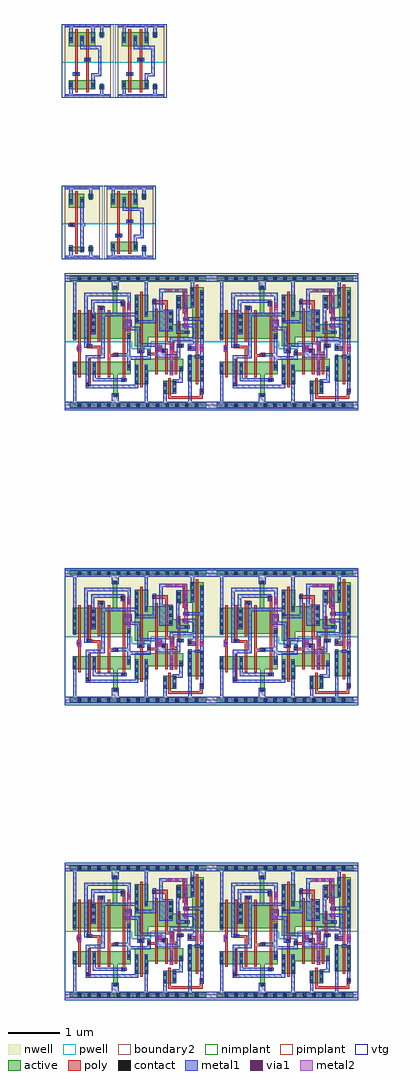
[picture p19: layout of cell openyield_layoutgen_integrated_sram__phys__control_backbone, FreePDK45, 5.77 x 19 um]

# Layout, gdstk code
import gdstk
lib = gdstk.Library(unit=1e-6, precision=5e-10)
def R(c, l, rs):  # rectangles x0, y0, x1, y1
    for r in rs: c.add(gdstk.rectangle(r[:2], r[2:], *l))
def A(c, l, x, y, w, h, nx, ny, dx, dy):  # array of equal rectangles
    R(c, l, [(x+i*dx, y+j*dy, x+i*dx+w, y+j*dy+h) for i in range(nx) for j in range(ny)])
def P(c, l, *ps):  # polygons
    for p in ps: c.add(gdstk.Polygon(p, *l))
active = (1, 0)
pwell = (2, 0)
nwell = (3, 0)
nimplant = (4, 0)
pimplant = (5, 0)
vtg = (6, 0)
poly = (9, 0)
contact = (10, 0)
metal1 = (11, 0)
via1 = (12, 0)
metal2 = (13, 0)
boundary2 = (239, 0)

dff = lib.new_cell('dff')
A(dff, active, 0.2675, 0.6, 0.05, 0.25, 4, 1, 0.19, 0)
A(dff, active, 0.3175, 0.6, 0.14, 0.25, 3, 1, 0.19, 0)
A(dff, active, 1.7675, 0.6575, 0.05, 0.25, 3, 1, 0.19, 0)
A(dff, active, 0.2675, 1.2925, 0.05, 0.5, 4, 1, 0.19, 0)
A(dff, active, 0.3175, 1.2925, 0.14, 0.5, 3, 1, 0.19, 0)
R(dff, active, [(0.1,-0.045,2.76,0.045), (1.9175,0.2225,2.0225,0.4725), (2.0225,0.2225,2.0725,0.4725), (2.0725,0.2225,2.1775,0.4725), (1.3675,0.4075,1.4725,0.9075), (1.4725,0.4075,1.5225,0.9075), (2.4025,0.4625,2.5575,0.9625), (2.5575,0.4625,2.6075,0.9625), (2.6075,0.4625,2.7125,0.9625), (0.1625,0.6,0.2675,0.85), (1.1325,0.6,1.1825,0.85), (1.1825,0.6,1.2875,0.85), (1.8175,0.6575,1.9575,0.9075), (2.0075,0.6575,2.1475,0.9075), (2.1975,0.6575,2.3075,0.9075), (1.3675,1.15,1.4725,2.15), (1.4725,1.15,1.5225,2.15), (0.1625,1.2925,0.2675,1.7925), (1.1325,1.2925,1.1825,1.7925), (1.1825,1.2925,1.2875,1.7925), (2.5575,1.2925,2.6075,2.2925), (2.6075,1.2925,2.7125,2.2925), (1.7675,1.3275,1.8175,1.8275), (1.8175,1.3275,1.9575,1.8275), (1.9575,1.3275,2.0075,1.8275), (2.2075,1.3275,2.2575,1.5775), (2.2575,1.3275,2.4075,1.5775), (2.1925,1.8925,2.2975,2.1425), (2.2975,1.8925,2.3475,2.1425), (0.1,2.425,2.76,2.515)])
P(dff, active, [(0.8875,1.2925),(0.8875,1.7925),(0.9375,1.7925),(0.9375,2.3225),(1.0275,2.3225),(1.0275,1.7925),(1.1325,1.7925),(1.1325,1.2925)],
  [(1.5225,1.15),(1.5225,2.15),(1.6275,2.15),(1.6275,1.8275),(1.7675,1.8275),(1.7675,1.3275),(1.6275,1.3275),(1.6275,1.15)],
  [(2.0075,1.3275),(2.0075,1.8275),(2.1125,1.8275),(2.1125,1.5775),(2.2075,1.5775),(2.2075,1.3275)],
  [(2.4875,1.2925),(2.4875,1.8925),(2.3475,1.8925),(2.3475,2.1425),(2.4525,2.1425),(2.4525,2.2925),(2.5575,2.2925),(2.5575,1.2925)],
  [(0.9475,0.165),(0.9475,0.6),(0.8875,0.6),(0.8875,0.85),(1.1325,0.85),(1.1325,0.6),(1.0375,0.6),(1.0375,0.165)],
  [(1.5225,0.4075),(1.5225,0.9075),(1.7675,0.9075),(1.7675,0.6575),(1.6275,0.6575),(1.6275,0.4075)])
P(dff, pwell, [(0,-0.1),(0,1.235),(1.3125,1.235),(1.3125,1.095),(1.6825,1.095),(1.6825,1.235),(2.86,1.235),(2.86,-0.1)])
P(dff, nwell, [(1.3125,1.095),(1.3125,1.235),(0,1.235),(0,2.57),(2.86,2.57),(2.86,1.235),(1.6825,1.235),(1.6825,1.095)])
A(dff, nimplant, 0.2675, 0.6, 0.05, 0.25, 4, 1, 0.19, 0)
A(dff, nimplant, 0.3175, 0.6, 0.14, 0.25, 3, 1, 0.19, 0)
A(dff, nimplant, 1.7675, 0.6575, 0.05, 0.25, 3, 1, 0.19, 0)
R(dff, nimplant, [(1.9175,0.2225,2.0225,0.4725), (2.0225,0.2225,2.0725,0.4725), (2.0725,0.2225,2.1775,0.4725), (1.3675,0.4075,1.4725,0.9075), (1.4725,0.4075,1.5225,0.9075), (2.4025,0.4625,2.5575,0.9625), (2.5575,0.4625,2.6075,0.9625), (2.6075,0.4625,2.7125,0.9625), (0.1625,0.6,0.2675,0.85), (1.1325,0.6,1.1825,0.85), (1.1825,0.6,1.2875,0.85), (1.8175,0.6575,1.9575,0.9075), (2.0075,0.6575,2.1475,0.9075), (2.1975,0.6575,2.3075,0.9075), (0.1,2.425,2.76,2.515)])
P(dff, nimplant, [(0.9475,0.165),(0.9475,0.6),(0.8875,0.6),(0.8875,0.85),(1.1325,0.85),(1.1325,0.6),(1.0375,0.6),(1.0375,0.165)],
  [(1.5225,0.4075),(1.5225,0.9075),(1.7675,0.9075),(1.7675,0.6575),(1.6275,0.6575),(1.6275,0.4075)])
A(dff, pimplant, 0.2675, 1.2925, 0.05, 0.5, 4, 1, 0.19, 0)
A(dff, pimplant, 0.3175, 1.2925, 0.14, 0.5, 3, 1, 0.19, 0)
R(dff, pimplant, [(0.1,-0.045,2.76,0.045), (1.3675,1.15,1.4725,2.15), (1.4725,1.15,1.5225,2.15), (0.1625,1.2925,0.2675,1.7925), (1.1325,1.2925,1.1825,1.7925), (1.1825,1.2925,1.2875,1.7925), (2.5575,1.2925,2.6075,2.2925), (2.6075,1.2925,2.7125,2.2925), (1.7675,1.3275,1.8175,1.8275), (1.8175,1.3275,1.9575,1.8275), (1.9575,1.3275,2.0075,1.8275), (2.2075,1.3275,2.2575,1.5775), (2.2575,1.3275,2.4075,1.5775), (2.1925,1.8925,2.2975,2.1425), (2.2975,1.8925,2.3475,2.1425)])
P(dff, pimplant, [(0.8875,1.2925),(0.8875,1.7925),(0.9375,1.7925),(0.9375,2.3225),(1.0275,2.3225),(1.0275,1.7925),(1.1325,1.7925),(1.1325,1.2925)],
  [(1.5225,1.15),(1.5225,2.15),(1.6275,2.15),(1.6275,1.8275),(1.7675,1.8275),(1.7675,1.3275),(1.6275,1.3275),(1.6275,1.15)],
  [(2.0075,1.3275),(2.0075,1.8275),(2.1125,1.8275),(2.1125,1.5775),(2.2075,1.5775),(2.2075,1.3275)],
  [(2.4875,1.2925),(2.4875,1.8925),(2.3475,1.8925),(2.3475,2.1425),(2.4525,2.1425),(2.4525,2.2925),(2.5575,2.2925),(2.5575,1.2925)])
R(dff, vtg, [(0,-0.1,2.86,2.57)])
A(dff, poly, 0.2675, 0.6, 0.05, 0.25, 4, 1, 0.19, 0)
A(dff, poly, 1.7675, 0.6025, 0.05, 0.055, 3, 1, 0.19, 0)
A(dff, poly, 1.7675, 0.6575, 0.05, 0.25, 3, 1, 0.19, 0)
A(dff, poly, 0.2675, 1.2925, 0.05, 0.5, 4, 1, 0.19, 0)
R(dff, poly, [(2.0225,0.2225,2.0725,0.4725), (1.4725,0.3525,1.5225,0.4075), (1.4725,0.4075,1.5225,0.9075), (2.5575,0.4075,2.6075,0.4625), (2.5575,0.4625,2.6075,0.9625), (2.0225,0.4725,2.0725,0.5275), (0.2675,0.545,0.3175,0.6), (0.6475,0.545,0.6975,0.6), (0.8375,0.545,0.8875,0.6), (1.1325,0.6,1.1825,0.85), (0.4575,0.85,0.5075,0.905), (1.1325,0.85,1.1825,1.2925), (1.4725,1.15,1.5225,2.15), (0.6475,1.2375,0.6975,1.2925), (1.1325,1.2925,1.1825,1.7925), (2.5575,1.2925,2.6075,2.2925), (1.7675,1.3275,1.8175,1.8275), (1.9575,1.3275,2.0075,1.8275), (2.2075,1.3275,2.2575,1.5775), (2.2075,1.5775,2.2575,1.6325), (0.2675,1.7925,0.3175,1.8475), (0.4575,1.7925,0.5075,1.8475), (0.8375,1.7925,0.8875,1.8475), (1.7675,1.8275,1.8175,1.8825), (2.2975,1.8925,2.3475,2.1425), (2.2975,2.1425,2.3475,2.1975), (1.4725,2.15,1.5225,2.205), (2.5575,2.2925,2.6075,2.3475)])
P(dff, poly, [(0.2675,0.85),(0.2675,1.0675),(0.2425,1.0675),(0.2425,1.1425),(0.2675,1.1425),(0.2675,1.2925),(0.3175,1.2925),(0.3175,0.85)],
  [(0.4125,0.365),(0.4125,0.44),(0.4575,0.44),(0.4575,0.6),(0.5075,0.6),(0.5075,0.365)],
  [(0.6475,1.7925),(0.6475,1.9325),(0.7525,1.9325),(0.7525,1.8575),(0.6975,1.8575),(0.6975,1.7925)],
  [(0.6475,0.85),(0.6475,1.1125),(0.4325,1.1125),(0.4325,1.1875),(0.4575,1.1875),(0.4575,1.2925),(0.5075,1.2925),(0.5075,1.1625),(0.6975,1.1625),(0.6975,0.85)],
  [(0.8375,0.85),(0.8375,1.2925),(0.8875,1.2925),(0.8875,0.995),(0.9725,0.995),(0.9725,1.02),(1.0475,1.02),(1.0475,0.945),(0.8875,0.945),(0.8875,0.85)],
  [(1.1325,1.7925),(1.1325,1.9525),(1.0925,1.9525),(1.0925,2.0275),(1.1825,2.0275),(1.1825,1.7925)],
  [(1.1075,0.46),(1.1075,0.535),(1.1325,0.535),(1.1325,0.6),(1.1825,0.6),(1.1825,0.46)],
  [(1.4725,0.9075),(1.4725,1.01),(1.4425,1.01),(1.4425,1.085),(1.4725,1.085),(1.4725,1.15),(1.5225,1.15),(1.5225,0.9075)],
  [(1.7675,0.9075),(1.7675,0.9725),(1.6075,0.9725),(1.6075,1.0475),(1.6825,1.0475),(1.6825,1.0225),(1.7675,1.0225),(1.7675,1.3275),(1.8175,1.3275),(1.8175,0.9075)],
  [(1.9575,1.8275),(1.9575,1.9675),(1.7125,1.9675),(1.7125,2.0425),(2.0075,2.0425),(2.0075,1.8275)],
  [(1.9575,0.9075),(1.9575,1.0225),(1.9025,1.0225),(1.9025,1.0975),(2.0075,1.0975),(2.0075,0.9075)],
  [(2.3425,1.6425),(2.3425,1.7925),(2.2975,1.7925),(2.2975,1.8925),(2.3475,1.8925),(2.3475,1.8425),(2.3925,1.8425),(2.3925,1.7175),(2.4175,1.7175),(2.4175,1.6425)],
  [(2.2075,1.1225),(2.2075,1.3275),(2.2575,1.3275),(2.2575,1.1975),(2.2925,1.1975),(2.2925,1.1225)],
  [(2.0225,0.1225),(2.0225,0.2225),(2.0725,0.2225),(2.0725,0.1725),(2.6375,0.1725),(2.6375,0.3225),(2.7125,0.3225),(2.7125,0.2475),(2.6875,0.2475),(2.6875,0.1225)],
  [(2.1475,0.9075),(2.1475,0.9875),(2.0825,0.9875),(2.0825,1.1825),(1.9575,1.1825),(1.9575,1.3275),(2.0075,1.3275),(2.0075,1.2325),(2.1325,1.2325),(2.1325,1.0375),(2.1975,1.0375),(2.1975,0.9075)],
  [(2.5575,0.9625),(2.5575,1.0875),(2.3975,1.0875),(2.3975,1.1625),(2.4725,1.1625),(2.4725,1.1375),(2.5575,1.1375),(2.5575,1.2925),(2.6075,1.2925),(2.6075,0.9625)])
A(dff, contact, 0.2575, -0.0325, 0.065, 0.065, 13, 2, 0.19, 2.47)
A(dff, contact, 1.3725, 0.4125, 0.065, 0.065, 1, 3, 0, 0.14)
A(dff, contact, 1.5575, 0.4125, 0.065, 0.065, 1, 3, 0, 0.14)
A(dff, contact, 2.4075, 0.4675, 0.065, 0.065, 1, 4, 0, 0.14)
A(dff, contact, 2.6425, 0.4675, 0.065, 0.065, 1, 4, 0, 0.14)
A(dff, contact, 2.6425, 1.2975, 0.065, 0.065, 1, 7, 0, 0.14)
A(dff, contact, 0.1675, 1.3025, 0.065, 0.065, 1, 4, 0, 0.14)
A(dff, contact, 0.5425, 1.4175, 0.065, 0.065, 1, 3, 0, 0.14)
A(dff, contact, 2.0425, 1.4775, 0.065, 0.065, 1, 3, 0, 0.14)
A(dff, contact, 1.3725, 1.6275, 0.065, 0.065, 1, 4, 0, 0.14)
A(dff, contact, 2.4575, 1.9425, 0.065, 0.065, 1, 3, 0, 0.14)
R(dff, contact, [(0.9525,0.17,1.0175,0.235), (1.9225,0.2275,1.9875,0.2925), (2.6425,0.2525,2.7075,0.3175), (2.1075,0.2625,2.1725,0.3275), (1.9225,0.3675,1.9875,0.4325), (0.4175,0.37,0.4825,0.435), (2.1075,0.4025,2.1725,0.4675), (1.1125,0.465,1.1775,0.53), (0.1675,0.605,0.2325,0.67), (0.5475,0.605,0.6125,0.67), (2.0475,0.6625,2.1125,0.7275), (2.2375,0.6625,2.3025,0.7275), (1.2175,0.72,1.2825,0.785), (0.1675,0.745,0.2325,0.81), (0.5475,0.745,0.6125,0.81), (0.9775,0.95,1.0425,1.015), (1.6125,0.9775,1.6775,1.0425), (1.4475,1.015,1.5125,1.08), (1.9075,1.0275,1.9725,1.0925), (0.2475,1.0725,0.3125,1.1375), (2.4025,1.0925,2.4675,1.1575), (0.4375,1.1175,0.5025,1.1825), (2.2225,1.1275,2.2875,1.1925), (1.2175,1.2975,1.2825,1.3625), (2.3375,1.3875,2.4025,1.4525), (2.3475,1.6475,2.4125,1.7125), (1.5575,1.7575,1.6225,1.8225), (0.6825,1.8625,0.7475,1.9275), (2.1975,1.8975,2.2625,1.9625), (1.0975,1.9575,1.1625,2.0225), (1.7175,1.9725,1.7825,2.0375), (2.1975,2.0375,2.2625,2.1025), (0.9575,2.2525,1.0225,2.3175)])
R(dff, metal1, [(0,-0.065,2.86,0.065), (2.0475,0.5875,2.1125,0.8625), (2.6425,0.915,2.7075,1.1275), (1.7775,0.9275,1.9725,1.2075), (0.245,1.0375,0.3225,1.1725), (2.6325,1.0475,2.71,1.1825), (2.3275,1.7775,2.3925,2.1275), (0,2.405,2.76,2.535)])
P(dff, metal1, [(0.1675,1.2675),(0.1675,2.405),(0.1,2.405),(0.1,2.535),(2.86,2.535),(2.86,2.405),(2.5225,2.405),(2.5225,1.9075),(2.4575,1.9075),(2.4575,2.405),(1.6225,2.405),(1.6225,1.7225),(1.5575,1.7225),(1.5575,2.405),(1.0575,2.405),(1.0575,2.2525),(0.9225,2.2525),(0.9225,2.405),(0.2325,2.405),(0.2325,1.2675)],
  [(0.1,-0.065),(0.1,0.065),(0.1675,0.065),(0.1675,0.845),(0.2325,0.845),(0.2325,0.065),(0.9175,0.065),(0.9175,0.235),(1.0525,0.235),(1.0525,0.065),(1.5575,0.065),(1.5575,0.7925),(1.6225,0.7925),(1.6225,0.065),(1.9225,0.065),(1.9225,0.4675),(1.9875,0.4675),(1.9875,0.065),(2.4075,0.065),(2.4075,0.9875),(2.4725,0.9875),(2.4725,0.065),(2.76,0.065),(2.76,-0.065)],
  [(0.4175,0.335),(0.4175,0.975),(0.7175,0.975),(0.7175,1.8625),(0.6475,1.8625),(0.6475,1.9275),(0.7825,1.9275),(0.7825,1.7975),(1.3725,1.7975),(1.3725,2.1475),(1.4375,2.1475),(1.4375,1.6575),(1.7175,1.6575),(1.7175,2.0725),(1.7825,2.0725),(1.7825,1.5925),(1.3725,1.5925),(1.3725,1.7325),(0.7825,1.7325),(0.7825,0.91),(0.4825,0.91),(0.4825,0.4),(1.3725,0.4),(1.3725,0.7925),(1.4375,0.7925),(1.4375,0.335)],
  [(1.7775,0.9275),(1.7775,1.1425),(1.5475,1.1425),(1.5475,1.015),(1.4125,1.015),(1.4125,1.4625),(1.1725,1.4625),(1.1725,1.6675),(1.3075,1.6675),(1.3075,1.5275),(1.4775,1.5275),(1.4775,1.2075),(1.9725,1.2075),(1.9725,0.9925),(2.1875,0.9925),(2.1875,1.1925),(2.3225,1.1925),(2.3225,1.1275),(2.2525,1.1275),(2.2525,0.9275)],
  [(0.3875,1.1175),(0.3875,2.1875),(1.2925,2.1875),(1.2925,1.8625),(1.2275,1.8625),(1.2275,2.1225),(0.4525,2.1225),(0.4525,1.1825),(0.5375,1.1825),(0.5375,1.1175)],
  [(0.5175,1.3825),(0.5175,2.0575),(1.1625,2.0575),(1.1625,1.9225),(1.0975,1.9225),(1.0975,1.9925),(0.5825,1.9925),(0.5825,1.7975),(0.6075,1.7975),(0.6075,1.3825)],
  [(0.5475,0.465),(0.5475,0.845),(0.6125,0.845),(0.6125,0.53),(1.2125,0.53),(1.2125,0.465)],
  [(1.2175,0.685),(1.2175,0.95),(0.9425,0.95),(0.9425,1.015),(1.2175,1.015),(1.2175,1.3975),(1.2825,1.3975),(1.2825,0.95),(1.6125,0.95),(1.6125,1.0775),(1.6775,1.0775),(1.6775,0.885),(1.2825,0.885),(1.2825,0.685)],
  [(1.8475,1.4425),(1.8475,2.2675),(2.3925,2.2675),(2.3925,2.2025),(1.9125,2.2025),(1.9125,1.8575),(2.1075,1.8575),(2.1075,1.4425)],
  [(2.0525,1.0575),(2.0525,1.3225),(2.5025,1.3225),(2.5025,1.5175),(2.3025,1.5175),(2.3025,1.5825),(2.5675,1.5825),(2.5675,1.0575),(2.4025,1.0575),(2.4025,1.1925),(2.5025,1.1925),(2.5025,1.2575),(2.1175,1.2575),(2.1175,1.0575)],
  [(2.1725,1.3875),(2.1725,2.1375),(2.2625,2.1375),(2.2625,1.8625),(2.2375,1.8625),(2.2375,1.4525),(2.4375,1.4525),(2.4375,1.3875)],
  [(2.6425,0.2175),(2.6425,0.9175),(2.5375,0.9175),(2.5375,0.9825),(2.6425,0.9825),(2.6425,1.6475),(2.3125,1.6475),(2.3125,1.7125),(2.6425,1.7125),(2.6425,2.2375),(2.7075,2.2375),(2.7075,0.2175)],
  [(2.1075,0.2275),(2.1075,0.5025),(2.2375,0.5025),(2.2375,0.7625),(2.3025,0.7625),(2.3025,0.4375),(2.1725,0.4375),(2.1725,0.2275)])
A(dff, via1, 2.0125, 2.2025, 0.065, 0.065, 3, 1, 0.14, 0)
R(dff, via1, [(2.0475,0.6225,2.1125,0.6875), (2.0475,0.7625,2.1125,0.8275), (0.2475,1.0725,0.3125,1.1375), (1.825,1.0725,1.89,1.1375), (2.64,1.0825,2.705,1.1475), (2.0525,1.0925,2.1175,1.1575), (1.2075,1.4625,1.2725,1.5275), (2.3375,1.5175,2.4025,1.5825), (1.2075,1.6025,1.2725,1.6675), (2.3275,1.8125,2.3925,1.8775), (1.2275,1.8975,1.2925,1.9625), (2.3275,2.0275,2.3925,2.0925)])
R(dff, metal2, [(2.0475,0.5875,2.1175,1.1925), (0.245,1.0375,0.3225,1.1725), (1.82,1.0375,1.8975,1.1725), (2.6325,1.0475,2.71,1.1825)])
P(dff, metal2, [(1.2075,1.4275),(1.2075,1.7025),(1.2225,1.7025),(1.2225,1.9975),(1.2925,1.9975),(1.2925,1.4275)],
  [(2.3225,1.9925),(2.3225,2.1975),(1.9775,2.1975),(1.9775,2.2675),(2.3925,2.2675),(2.3925,1.9925)],
  [(2.3325,1.4825),(2.3325,1.7775),(2.3275,1.7775),(2.3275,1.9125),(2.4025,1.9125),(2.4025,1.4825)])
R(dff, boundary2, [(0,0,2.86,2.47)])
dff.add(gdstk.Label('clk', (1.865,1.15), layer=13, texttype=0))
dff.add(gdstk.Label('D', (0.295,1.15), layer=13, texttype=0))
dff.add(gdstk.Label('Q', (2.685,1.1), layer=13, texttype=0))
dff.add(gdstk.Label('gnd', (1.645,0.0425), layer=11, texttype=0))
dff.add(gdstk.Label('vdd', (2.035,2.5325), layer=11, texttype=0))

sram_1rw_32x16_freepdk45 = lib.new_cell('sram_1rw_32x16_freepdk45_contact_11')
R(sram_1rw_32x16_freepdk45, active, [(0,0.0225,0.09,0.1125)])
R(sram_1rw_32x16_freepdk45, nwell, [(-0.055,-0.0325,0.145,0.1675)])
R(sram_1rw_32x16_freepdk45, pimplant, [(0,0.0225,0.09,0.1125)])
R(sram_1rw_32x16_freepdk45, contact, [(0.0125,0.035,0.0775,0.1)])
R(sram_1rw_32x16_freepdk45, metal1, [(0.0125,0,0.0775,0.135)])
R(sram_1rw_32x16_freepdk45, boundary2, [(-0.055,-0.0325,0.145,0.1675)])

c_sram_1rw_32x16_freepdk45 = lib.new_cell('sram_1rw_32x16_freepdk45_pmos_m1_w0_270_sm1_dm1_da_p')
R(c_sram_1rw_32x16_freepdk45, active, [(0,0,0.305,0.27)])
R(c_sram_1rw_32x16_freepdk45, nwell, [(-0.08,-0.08,0.385,0.35)])
R(c_sram_1rw_32x16_freepdk45, pimplant, [(0,0,0.305,0.27)])
R(c_sram_1rw_32x16_freepdk45, vtg, [(-0.08,-0.08,0.385,0.35)])
R(c_sram_1rw_32x16_freepdk45, poly, [(0.1275,-0.055,0.1775,0.325), (0.1275,-0.055,0.1775,0.325)])
R(c_sram_1rw_32x16_freepdk45, metal1, [(0.0125,0.0675,0.0775,0.2025), (0.2275,0.0675,0.2925,0.2025)])
R(c_sram_1rw_32x16_freepdk45, boundary2, [(-0.08,-0.08,0.385,0.35)])
c_sram_1rw_32x16_freepdk45.add(gdstk.Reference(sram_1rw_32x16_freepdk45, (0,0.0675)))
c_sram_1rw_32x16_freepdk45.add(gdstk.Reference(sram_1rw_32x16_freepdk45, (0.215,0.0675)))
c_sram_1rw_32x16_freepdk45.add(gdstk.Label('G', (0.1525,0.135), layer=9, texttype=0))
c_sram_1rw_32x16_freepdk45.add(gdstk.Label('S', (0.045,0.135), layer=11, texttype=0))
c_sram_1rw_32x16_freepdk45.add(gdstk.Label('D', (0.26,0.135), layer=11, texttype=0))

c_sram_1rw_32x16_freepdk45_ = lib.new_cell('sram_1rw_32x16_freepdk45_contact_10')
R(c_sram_1rw_32x16_freepdk45_, active, [(0,0.0225,0.09,0.1125)])
R(c_sram_1rw_32x16_freepdk45_, pwell, [(-0.055,-0.0325,0.145,0.1675)])
R(c_sram_1rw_32x16_freepdk45_, nimplant, [(0,0.0225,0.09,0.1125)])
R(c_sram_1rw_32x16_freepdk45_, contact, [(0.0125,0.035,0.0775,0.1)])
R(c_sram_1rw_32x16_freepdk45_, metal1, [(0.0125,0,0.0775,0.135)])
R(c_sram_1rw_32x16_freepdk45_, boundary2, [(-0.055,-0.0325,0.145,0.1675)])

c_sram_1rw_32x16_freepdk45__ = lib.new_cell('sram_1rw_32x16_freepdk45_nmos_m1_w0_090_sm1_dm1_da_p')
R(c_sram_1rw_32x16_freepdk45__, active, [(0,0,0.305,0.09)])
R(c_sram_1rw_32x16_freepdk45__, pwell, [(-0.08,-0.08,0.385,0.17)])
R(c_sram_1rw_32x16_freepdk45__, nimplant, [(0,0,0.305,0.09)])
R(c_sram_1rw_32x16_freepdk45__, vtg, [(-0.08,-0.08,0.385,0.17)])
R(c_sram_1rw_32x16_freepdk45__, poly, [(0.1275,-0.055,0.1775,0.145), (0.1275,-0.055,0.1775,0.145)])
R(c_sram_1rw_32x16_freepdk45__, metal1, [(0.0125,-0.0225,0.0775,0.1125), (0.2275,-0.0225,0.2925,0.1125)])
R(c_sram_1rw_32x16_freepdk45__, boundary2, [(-0.08,-0.08,0.385,0.17)])
c_sram_1rw_32x16_freepdk45__.add(gdstk.Reference(c_sram_1rw_32x16_freepdk45_, (0,-0.0225)))
c_sram_1rw_32x16_freepdk45__.add(gdstk.Reference(c_sram_1rw_32x16_freepdk45_, (0.215,-0.0225)))
c_sram_1rw_32x16_freepdk45__.add(gdstk.Label('G', (0.1525,0.045), layer=9, texttype=0))
c_sram_1rw_32x16_freepdk45__.add(gdstk.Label('S', (0.045,0.045), layer=11, texttype=0))
c_sram_1rw_32x16_freepdk45__.add(gdstk.Label('D', (0.26,0.045), layer=11, texttype=0))

c_sram_1rw_32x16_freepdk45___ = lib.new_cell('sram_1rw_32x16_freepdk45_contact_12')
R(c_sram_1rw_32x16_freepdk45___, active, [(0,0.0225,0.09,0.1125)])
R(c_sram_1rw_32x16_freepdk45___, nwell, [(-0.055,-0.0325,0.145,0.1675)])
R(c_sram_1rw_32x16_freepdk45___, nimplant, [(0,0.0225,0.09,0.1125)])
R(c_sram_1rw_32x16_freepdk45___, contact, [(0.0125,0.035,0.0775,0.1)])
R(c_sram_1rw_32x16_freepdk45___, metal1, [(0.0125,0,0.0775,0.135)])
R(c_sram_1rw_32x16_freepdk45___, boundary2, [(-0.055,-0.0325,0.145,0.1675)])

c_sram_1rw_32x16_freepdk45____ = lib.new_cell('sram_1rw_32x16_freepdk45_contact_13')
R(c_sram_1rw_32x16_freepdk45____, active, [(0,0.0225,0.09,0.1125)])
R(c_sram_1rw_32x16_freepdk45____, pwell, [(-0.055,-0.0325,0.145,0.1675)])
R(c_sram_1rw_32x16_freepdk45____, pimplant, [(0,0.0225,0.09,0.1125)])
R(c_sram_1rw_32x16_freepdk45____, contact, [(0.0125,0.035,0.0775,0.1)])
R(c_sram_1rw_32x16_freepdk45____, metal1, [(0.0125,0,0.0775,0.135)])
R(c_sram_1rw_32x16_freepdk45____, boundary2, [(-0.055,-0.0325,0.145,0.1675)])

c_sram_1rw_32x16_freepdk45_____ = lib.new_cell('sram_1rw_32x16_freepdk45_contact_14')
R(c_sram_1rw_32x16_freepdk45_____, poly, [(0.03,0,0.105,0.075)])
R(c_sram_1rw_32x16_freepdk45_____, contact, [(0.035,0.005,0.1,0.07)])
R(c_sram_1rw_32x16_freepdk45_____, metal1, [(0,0.005,0.135,0.07)])
R(c_sram_1rw_32x16_freepdk45_____, boundary2, [(0,0,0.135,0.075)])

gen_inv = lib.new_cell('gen_inv')
R(gen_inv, pwell, [(-0.055,-0.0325,0.7425,0.655)])
R(gen_inv, nwell, [(-0.055,0.655,0.7425,1.4)])
R(gen_inv, vtg, [(-0.055,-0.0325,0.7425,0.655), (-0.055,0.655,0.7425,1.4)])
R(gen_inv, poly, [(0.2075,0.27,0.2575,0.915), (0.14,0.6,0.2075,0.675)])
R(gen_inv, metal1, [(0,-0.0325,0.6875,0.0325), (0.0925,-0.0325,0.1575,0.1025), (0.4775,0,0.5425,0.17), (0.3075,0.1025,0.3725,1.1725), (0.0725,0.605,0.2075,0.67), (0.34,0.605,0.405,0.67), (0.0925,1.0375,0.1575,1.3975), (0.4775,1.195,0.5425,1.365), (0,1.3325,0.6875,1.3975)])
R(gen_inv, boundary2, [(0,0,0.6875,1.365), (0,0,0.6875,1.365)])
gen_inv.add(gdstk.Reference(c_sram_1rw_32x16_freepdk45, (0.08,0.97)))
gen_inv.add(gdstk.Reference(c_sram_1rw_32x16_freepdk45__, (0.08,0.125)))
gen_inv.add(gdstk.Reference(c_sram_1rw_32x16_freepdk45___, (0.465,1.1275)))
gen_inv.add(gdstk.Reference(c_sram_1rw_32x16_freepdk45____, (0.465,0.1025)))
gen_inv.add(gdstk.Reference(c_sram_1rw_32x16_freepdk45_____, (0.0725,0.6)))
gen_inv.add(gdstk.Label('A', (0.14,0.6375), layer=11, texttype=0))
gen_inv.add(gdstk.Label('Z', (0.3725,0.6375), layer=11, texttype=0))
gen_inv.add(gdstk.Label('gnd', (0.345,0), layer=11, texttype=0))
gen_inv.add(gdstk.Label('vdd', (0.345,1.365), layer=11, texttype=0))

c_sram_1rw_32x16_freepdk45______ = lib.new_cell('sram_1rw_32x16_freepdk45_pmos_m1_w0_270_sm1_dm1')
R(c_sram_1rw_32x16_freepdk45______, active, [(0,0,0.305,0.27)])
R(c_sram_1rw_32x16_freepdk45______, nwell, [(-0.08,-0.08,0.385,0.35)])
R(c_sram_1rw_32x16_freepdk45______, pimplant, [(0,0,0.305,0.27)])
R(c_sram_1rw_32x16_freepdk45______, vtg, [(-0.08,-0.08,0.385,0.35)])
R(c_sram_1rw_32x16_freepdk45______, poly, [(0.1275,-0.055,0.1775,0.325), (0.1275,-0.055,0.1775,0.325)])
R(c_sram_1rw_32x16_freepdk45______, metal1, [(0.0125,0.0675,0.0775,0.2025), (0.2275,0.0675,0.2925,0.2025)])
R(c_sram_1rw_32x16_freepdk45______, boundary2, [(-0.08,-0.08,0.385,0.35)])
c_sram_1rw_32x16_freepdk45______.add(gdstk.Reference(sram_1rw_32x16_freepdk45, (0,0.0675)))
c_sram_1rw_32x16_freepdk45______.add(gdstk.Reference(sram_1rw_32x16_freepdk45, (0.215,0.0675)))
c_sram_1rw_32x16_freepdk45______.add(gdstk.Label('G', (0.1525,0.135), layer=9, texttype=0))
c_sram_1rw_32x16_freepdk45______.add(gdstk.Label('S', (0.045,0.135), layer=11, texttype=0))
c_sram_1rw_32x16_freepdk45______.add(gdstk.Label('D', (0.26,0.135), layer=11, texttype=0))

c_sram_1rw_32x16_freepdk45_______ = lib.new_cell('sram_1rw_32x16_freepdk45_nmos_m1_w0_180_sm1_dactive')
R(c_sram_1rw_32x16_freepdk45_______, active, [(0,0,0.305,0.18), (0.215,0.045,0.305,0.135)])
R(c_sram_1rw_32x16_freepdk45_______, pwell, [(-0.08,-0.08,0.385,0.26)])
R(c_sram_1rw_32x16_freepdk45_______, nimplant, [(0,0,0.305,0.18)])
R(c_sram_1rw_32x16_freepdk45_______, vtg, [(-0.08,-0.08,0.385,0.26)])
R(c_sram_1rw_32x16_freepdk45_______, poly, [(0.1275,-0.055,0.1775,0.235), (0.1275,-0.055,0.1775,0.235)])
R(c_sram_1rw_32x16_freepdk45_______, metal1, [(0.0125,0.0225,0.0775,0.1575)])
R(c_sram_1rw_32x16_freepdk45_______, boundary2, [(-0.08,-0.08,0.385,0.26)])
c_sram_1rw_32x16_freepdk45_______.add(gdstk.Reference(c_sram_1rw_32x16_freepdk45_, (0,0.0225)))
c_sram_1rw_32x16_freepdk45_______.add(gdstk.Label('G', (0.1525,0.09), layer=9, texttype=0))
c_sram_1rw_32x16_freepdk45_______.add(gdstk.Label('S', (0.045,0.09), layer=11, texttype=0))
c_sram_1rw_32x16_freepdk45_______.add(gdstk.Label('D', (0.26,0.09), layer=1, texttype=0))

c_sram_1rw_32x16_freepdk45________ = lib.new_cell('sram_1rw_32x16_freepdk45_nmos_m1_w0_180_sactive_dm1')
R(c_sram_1rw_32x16_freepdk45________, active, [(0,0,0.305,0.18), (0,0.045,0.09,0.135)])
R(c_sram_1rw_32x16_freepdk45________, pwell, [(-0.08,-0.08,0.385,0.26)])
R(c_sram_1rw_32x16_freepdk45________, nimplant, [(0,0,0.305,0.18)])
R(c_sram_1rw_32x16_freepdk45________, vtg, [(-0.08,-0.08,0.385,0.26)])
R(c_sram_1rw_32x16_freepdk45________, poly, [(0.1275,-0.055,0.1775,0.235), (0.1275,-0.055,0.1775,0.235)])
R(c_sram_1rw_32x16_freepdk45________, metal1, [(0.2275,0.0225,0.2925,0.1575)])
R(c_sram_1rw_32x16_freepdk45________, boundary2, [(-0.08,-0.08,0.385,0.26)])
c_sram_1rw_32x16_freepdk45________.add(gdstk.Reference(c_sram_1rw_32x16_freepdk45_, (0.215,0.0225)))
c_sram_1rw_32x16_freepdk45________.add(gdstk.Label('G', (0.1525,0.09), layer=9, texttype=0))
c_sram_1rw_32x16_freepdk45________.add(gdstk.Label('S', (0.045,0.09), layer=1, texttype=0))
c_sram_1rw_32x16_freepdk45________.add(gdstk.Label('D', (0.26,0.09), layer=11, texttype=0))

gen_nand2 = lib.new_cell('gen_nand2')
R(gen_nand2, pwell, [(-0.055,-0.0325,0.9575,0.655)])
R(gen_nand2, nwell, [(-0.055,0.655,0.9575,1.4)])
R(gen_nand2, vtg, [(-0.055,-0.0325,0.9575,0.655), (-0.055,0.655,0.9575,1.4)])
R(gen_nand2, poly, [(0.2075,0.36,0.2575,0.915), (0.4225,0.36,0.4725,0.915), (0.2075,0.39,0.2325,0.465), (0.4225,0.67,0.4475,0.745)])
R(gen_nand2, metal1, [(0,-0.0325,0.9025,0.0325), (0.0925,-0.0325,0.1575,0.1475), (0.6925,0,0.7575,0.17), (0.5225,0.2825,0.5875,0.4125), (0.5225,0.38,0.5875,0.445), (0.555,0.38,0.685,0.445), (0.6525,0.38,0.7175,0.445), (0.165,0.395,0.3,0.46), (0.6525,0.4125,0.7175,0.94), (0.38,0.675,0.515,0.74), (0.3075,0.9075,0.3725,0.9725), (0.34,0.9075,0.685,0.9725), (0.6525,0.9075,0.7175,0.9725), (0.3075,0.94,0.3725,1.0375), (0.0925,1.0375,0.1575,1.3975), (0.5225,1.0375,0.5875,1.3975), (0.6925,1.195,0.7575,1.365), (0,1.3325,0.9025,1.3975)])
R(gen_nand2, boundary2, [(0,0,0.9025,1.365), (0,0,0.9025,1.365)])
gen_nand2.add(gdstk.Reference(c_sram_1rw_32x16_freepdk45______, (0.08,0.97)))
gen_nand2.add(gdstk.Reference(c_sram_1rw_32x16_freepdk45______, (0.295,0.97)))
gen_nand2.add(gdstk.Reference(c_sram_1rw_32x16_freepdk45_______, (0.08,0.125)))
gen_nand2.add(gdstk.Reference(c_sram_1rw_32x16_freepdk45________, (0.295,0.125)))
gen_nand2.add(gdstk.Reference(c_sram_1rw_32x16_freepdk45___, (0.68,1.1275)))
gen_nand2.add(gdstk.Reference(c_sram_1rw_32x16_freepdk45____, (0.68,0.1025)))
gen_nand2.add(gdstk.Reference(c_sram_1rw_32x16_freepdk45_____, (0.165,0.39)))
gen_nand2.add(gdstk.Reference(c_sram_1rw_32x16_freepdk45_____, (0.38,0.67)))
gen_nand2.add(gdstk.Label('Z', (0.685,0.94), layer=11, texttype=0))
gen_nand2.add(gdstk.Label('gnd', (0.45,0), layer=11, texttype=0))
gen_nand2.add(gdstk.Label('vdd', (0.45,1.365), layer=11, texttype=0))
gen_nand2.add(gdstk.Label('A', (0.2325,0.4275), layer=11, texttype=0))
gen_nand2.add(gdstk.Label('B', (0.4475,0.7075), layer=11, texttype=0))

openyield_layoutgen_inte = lib.new_cell('openyield_layoutgen_integrated_sram__phys__control_backbone')
openyield_layoutgen_inte.add(gdstk.Reference(dff, (0.3425,0.3425)))
openyield_layoutgen_inte.add(gdstk.Reference(dff, (3.2025,0.3425)))
openyield_layoutgen_inte.add(gdstk.Reference(dff, (0.3425,6.0825)))
openyield_layoutgen_inte.add(gdstk.Reference(dff, (3.2025,6.0825)))
openyield_layoutgen_inte.add(gdstk.Reference(dff, (0.3425,11.8225)))
openyield_layoutgen_inte.add(gdstk.Reference(dff, (3.2025,11.8225)))
openyield_layoutgen_inte.add(gdstk.Reference(gen_inv, (0.3425,14.6975)))
openyield_layoutgen_inte.add(gdstk.Reference(gen_nand2, (1.165,14.6975)))
openyield_layoutgen_inte.add(gdstk.Reference(gen_nand2, (0.3425,17.845)))
openyield_layoutgen_inte.add(gdstk.Reference(gen_nand2, (1.38,17.845)))

lib.write_gds('openyield_layoutgen_integrated_sram__phys__control_backbone.gds')
